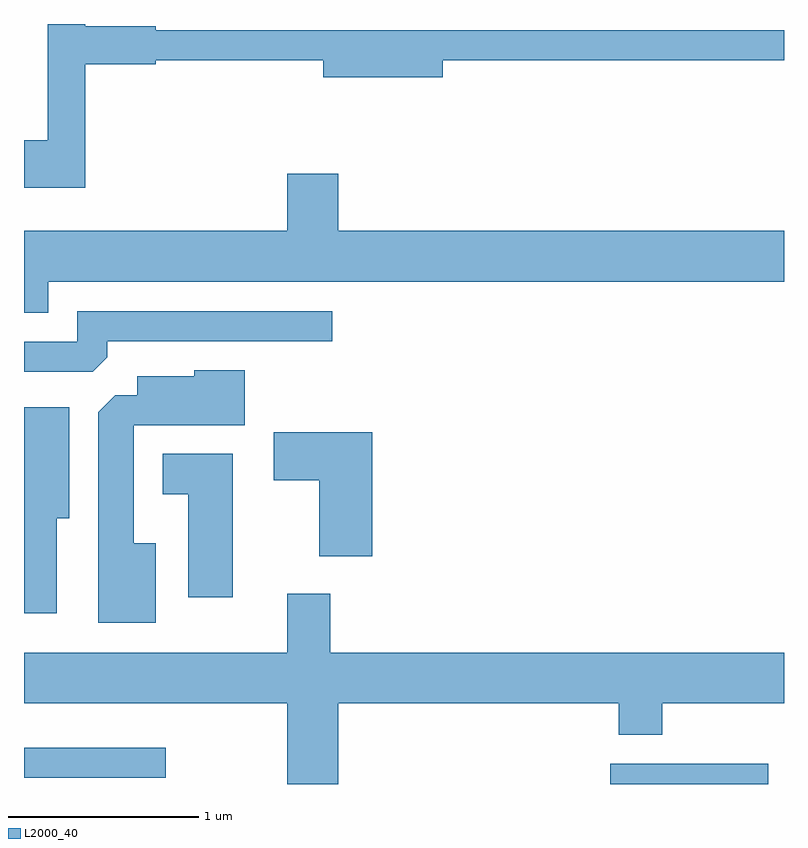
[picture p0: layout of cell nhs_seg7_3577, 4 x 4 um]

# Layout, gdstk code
import gdstk
lib = gdstk.Library(unit=1e-6, precision=1e-09)
def R(c, l, rs):  # rectangles x0, y0, x1, y1
    for r in rs: c.add(gdstk.rectangle(r[:2], r[2:], *l))
def P(c, l, *ps):  # polygons
    for p in ps: c.add(gdstk.Polygon(p, *l))
L2000_40 = (2000, 40)

nhs_seg7_3577 = lib.new_cell('nhs_seg7_3577')
R(nhs_seg7_3577, L2000_40, [(296.696,1798.252,297.528,1798.359), (293.611,1798.286,294.358,1798.444)])
P(nhs_seg7_3577, L2000_40, [(293.934,1802.041),(294.304,1802.041),(294.304,1802.061),(295.186,1802.061),(295.186,1801.971),(295.814,1801.971),(295.814,1802.061),(297.611,1802.061),(297.611,1802.219),(294.304,1802.219),(294.304,1802.239),(293.934,1802.239),(293.934,1802.252),(293.736,1802.252),(293.736,1801.639),(293.611,1801.639),(293.611,1801.391),(293.934,1801.391)],
  [(293.739,1800.896),(297.611,1800.896),(297.611,1801.164),(295.264,1801.164),(295.264,1801.464),(294.996,1801.464),(294.996,1801.164),(293.611,1801.164),(293.611,1800.731),(293.739,1800.731)],
  [(294.049,1800.497),(294.049,1800.581),(295.233,1800.581),(295.233,1800.739),(293.891,1800.739),(293.891,1800.579),(293.611,1800.579),(293.611,1800.421),(293.974,1800.421)],
  [(294.304,1799.519),(294.189,1799.519),(294.189,1800.141),(294.774,1800.141),(294.774,1800.429),(294.506,1800.429),(294.506,1800.399),(294.206,1800.399),(294.206,1800.299),(294.092,1800.299),(294.001,1800.209),(294.001,1799.101),(294.304,1799.101)],
  [(293.784,1799.651),(293.849,1799.651),(293.849,1800.234),(293.611,1800.234),(293.611,1799.151),(293.784,1799.151)],
  [(295.444,1800.104),(294.926,1800.104),(294.926,1799.851),(295.166,1799.851),(295.166,1799.451),(295.444,1799.451)],
  [(294.709,1799.989),(294.341,1799.989),(294.341,1799.776),(294.476,1799.776),(294.476,1799.236),(294.709,1799.236)],
  [(295.264,1798.676),(296.741,1798.676),(296.741,1798.511),(296.969,1798.511),(296.969,1798.676),(297.611,1798.676),(297.611,1798.944),(295.224,1798.944),(295.224,1799.254),(294.996,1799.254),(294.996,1798.944),(293.611,1798.944),(293.611,1798.676),(294.996,1798.676),(294.996,1798.252),(295.264,1798.252)])

lib.write_gds('nhs_seg7_3577.gds')
